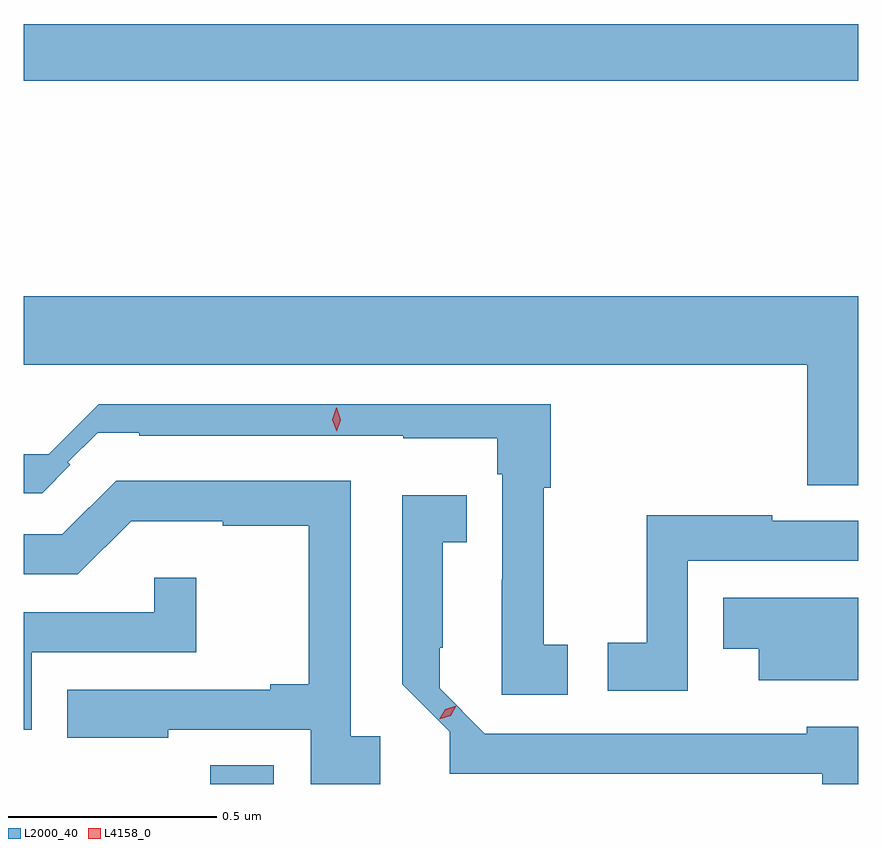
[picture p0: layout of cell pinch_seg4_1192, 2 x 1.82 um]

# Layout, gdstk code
import gdstk
lib = gdstk.Library(unit=1e-6, precision=1e-09)
def R(c, l, rs):  # rectangles x0, y0, x1, y1
    for r in rs: c.add(gdstk.rectangle(r[:2], r[2:], *l))
def P(c, l, *ps):  # polygons
    for p in ps: c.add(gdstk.Polygon(p, *l))
L2000_40 = (2000, 40)
L4158_0 = (4158, 0)

pinch_seg4_1192 = lib.new_cell('pinch_seg4_1192')
R(pinch_seg4_1192, L2000_40, [(516.485,789.155,516.637,789.2), (516.038,790.84,518.038,790.976)])
P(pinch_seg4_1192, L2000_40, [(518.038,790.324),(516.038,790.324),(516.038,790.16),(517.916,790.16),(517.916,789.871),(518.038,789.871)],
  [(517.342,789.489),(517.284,789.489),(517.284,789.865),(517.301,789.865),(517.301,790.065),(516.218,790.065),(516.098,789.945),(516.038,789.945),(516.038,789.852),(516.082,789.852),(516.15,789.92),(516.144,789.926),(516.215,789.997),(516.315,789.997),(516.315,789.989),(516.948,789.989),(516.948,789.984),(517.173,789.984),(517.173,789.897),(517.185,789.897),(517.185,789.644),(517.184,789.644),(517.184,789.369),(517.342,789.369)],
  [(516.892,789.269),(516.822,789.269),(516.822,789.882),(516.26,789.882),(516.131,789.753),(516.038,789.753),(516.038,789.657),(516.168,789.657),(516.296,789.785),(516.515,789.785),(516.515,789.774),(516.721,789.774),(516.721,789.394),(516.629,789.394),(516.629,789.381),(516.142,789.381),(516.142,789.266),(516.385,789.266),(516.385,789.285),(516.726,789.285),(516.726,789.155),(516.892,789.155)],
  [(518.038,789.292),(517.914,789.292),(517.914,789.276),(517.143,789.276),(517.035,789.384),(517.035,789.481),(517.042,789.481),(517.042,789.734),(517.1,789.734),(517.1,789.847),(516.945,789.847),(516.945,789.394),(517.059,789.28),(517.059,789.179),(517.478,789.179),(517.478,789.18),(517.951,789.18),(517.951,789.155),(518.038,789.155)],
  [(517.629,789.69),(518.038,789.69),(518.038,789.786),(517.832,789.786),(517.832,789.799),(517.531,789.799),(517.531,789.494),(517.437,789.494),(517.437,789.378),(517.629,789.378)],
  [(516.057,789.471),(516.452,789.471),(516.452,789.649),(516.351,789.649),(516.351,789.567),(516.038,789.567),(516.038,789.285),(516.057,789.285)],
  [(518.038,789.601),(517.714,789.601),(517.714,789.479),(517.799,789.479),(517.799,789.404),(518.038,789.404)])
P(pinch_seg4_1192, L4158_0, [(517.034,789.31),(517.034,789.31),(517.048,789.334),(517.075,789.342),(517.075,789.342),(517.075,789.342),(517.061,789.318),(517.034,789.31)],
  [(516.788,790),(516.788,790),(516.778,790.028),(516.787,790.056),(516.788,790.056),(516.788,790.056),(516.798,790.028),(516.788,790)])

lib.write_gds('pinch_seg4_1192.gds')
